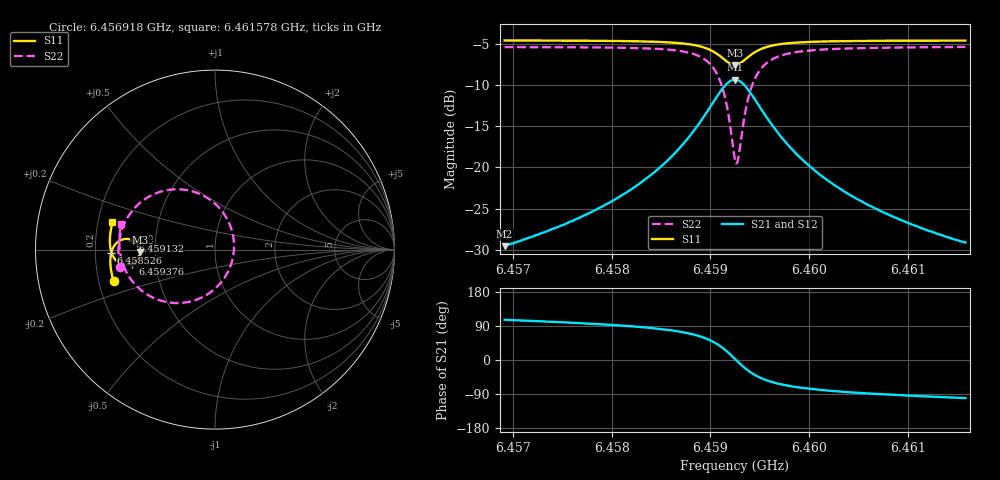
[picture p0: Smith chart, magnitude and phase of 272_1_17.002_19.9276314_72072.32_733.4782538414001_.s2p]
#  HZ  S  RI  R  50.00
! Rohde & Schwarz Vector Network Analyzer
! Rohde-Schwarz,ZNB20-2Port,1311601062101988,3.16
! Created: UTC 3/20/2024, 11:04:13 PM
! freq[Hz]  re:S11  im:S11  re:S21  im:S21  re:S12  im:S12  re:S22  im:S22
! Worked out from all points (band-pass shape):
!   401 points, 6.456918 GHz to 6.461578 GHz, reference 50 ohm
!   highest |S21| = -9.31 dB at 6.459248 GHz (marker M1); lowest = -29.6 dB at 6.456918 GHz (marker M2)
!   |S21| within 3 dB of the highest: 6.459015 GHz to 6.459481 GHz (466 kHz wide, 0.00721 % of centre)
!   lowest |S11| = -7.5 dB at 6.459248 GHz (marker M3), VSWR 2.45, Z = 20.4 - j0.629 ohm
!   |S11| at or under -10 dB: nowhere
!   |S22| runs from -19.5 to -5.3 dB; largest |S21 - S12| = 0.013
!   S11 on the Smith chart (normalised r, x): 6.456918 GHz: 0.26, -0.14; 6.458526 GHz: 0.27, -0.01; 6.459132 GHz: 0.37, +0.05; 6.459376 GHz: 0.37, -0.07; 6.461578 GHz: 0.26, +0.12
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6.456918e9  -0.565 -0.1774  -0.00932 0.0318  -0.0074 0.032  -0.5311 -0.0947
6.4576986e9  -0.5799 -0.1095  -0.00617 0.0499  -0.0036 0.0493  -0.538 -0.00386
6.458153e9  -0.5831 -0.0641  0.000179 0.0705  0.0035 0.0693  -0.5297 0.0683
6.4584792e9  -0.5797 -0.0251  0.0131 0.0979  0.0172 0.0953  -0.5064 0.1419
6.4585258e9  -0.5783 -0.0187  0.0166 0.1034  0.0206 0.1004  -0.5001 0.1551
6.4587355e9  -0.5662 0.0132  0.0423 0.1348  0.0465 0.1302  -0.452 0.2268
6.458887e9  -0.5453 0.0396  0.0844 0.1653  0.0879 0.1588  -0.3744 0.2915
6.4590384e9  -0.4995 0.0594  0.1758 0.1846  0.1768 0.1772  -0.2074 0.3363
6.4591316e9  -0.4554 0.0495  0.265 0.1542  0.2654 0.1482  -0.0418 0.2873
6.4591783e9  -0.4344 0.031  0.3085 0.1118  0.3098 0.1065  0.0409 0.2118
6.4592482e9  -0.4196 -0.0127  0.3419 0.0158  0.3455 0.00884  0.106 0.0337
6.4592598e9  -0.4201 -0.0207  0.3416 -0.00165  0.3455 -0.00929  0.1056 0.000514
6.4592831e9  -0.4236 -0.036  0.3362 -0.0362  0.3402 -0.0453  0.095 -0.0646
6.4593297e9  -0.439 -0.0617  0.3082 -0.0957  0.3105 -0.1073  0.0384 -0.1771
6.4593763e9  -0.4606 -0.0778  0.2669 -0.1362  0.2661 -0.1493  -0.0454 -0.2513
6.4594695e9  -0.5036 -0.0846  0.1831 -0.1675  0.1771 -0.179  -0.2123 -0.2979
6.459621e9  -0.547 -0.0641  0.0962 -0.1543  0.0878 -0.1606  -0.3786 -0.2498
6.4597841e9  -0.5684 -0.0365  0.0515 -0.127  0.044 -0.1299  -0.4588 -0.1787
6.4600288e9  -0.5811 -0.001  0.0226 -0.0959  0.0168 -0.0967  -0.507 -0.097
6.46039e9  -0.5857 0.0414  0.00618 -0.069  0.00228 -0.0685  -0.5291 -0.0157
6.4608094e9  -0.5837 0.0832  -0.00134 -0.0513  -0.00401 -0.0504  -0.5333 0.0503
6.4615784e9  -0.5715 0.1511  -0.00637 -0.0343  -0.00806 -0.0333  -0.5222 0.1407
